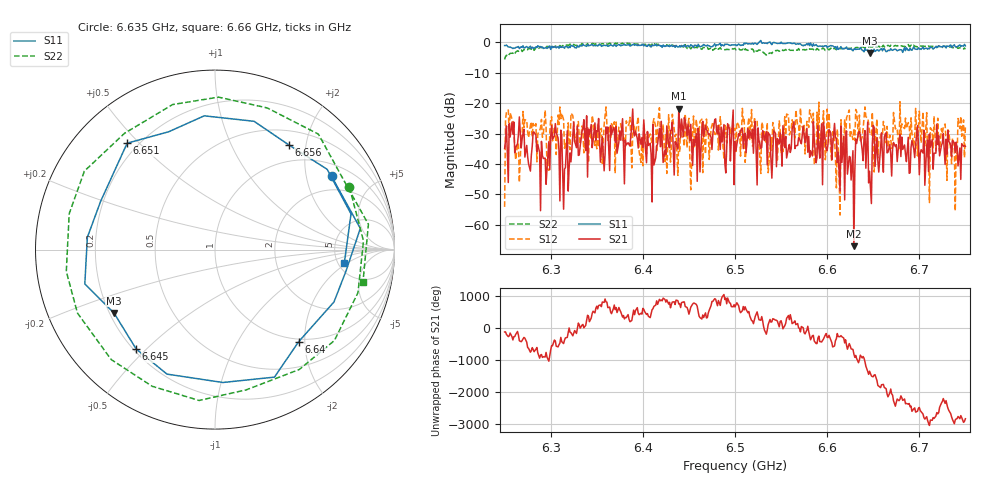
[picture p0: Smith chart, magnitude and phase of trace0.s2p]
# Hz S RI R 50
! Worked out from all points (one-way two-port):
!   401 points, 6.25 GHz to 6.75 GHz, reference 50 ohm
!   highest |S21| = -21.85 dB at 6.439 GHz (marker M1); lowest = -67.0 dB at 6.629 GHz (marker M2)
!   lowest |S11| = -3.6 dB at 6.646 GHz (marker M3), VSWR 4.96, Z = 10.9 - j13.8 ohm
!   |S11| at or under -10 dB: nowhere
!   |S22| runs from -5.7 to -0.1 dB; largest |S21 - S12| = 0.11
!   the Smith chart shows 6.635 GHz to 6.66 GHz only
!   S11 on the Smith chart (normalised r, x): 6.635 GHz: 1.42, +2.82; 6.64 GHz: 0.95, -1.87; 6.645 GHz: 0.21, -0.47; 6.651 GHz: 0.16, +0.46; 6.656 GHz: 0.72, +1.70; 6.66 GHz: 5.65, -1.82
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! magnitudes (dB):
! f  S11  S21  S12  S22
! 6.25 GHz  -1.1  -34.9  -54.1  -5.7
! 6.254 GHz  -1.6  -46.1  -22.3  -4.6
! 6.264 GHz  -1.6  -33.4  -33.4  -2.8
! 6.294 GHz  -1.8  -38.1  -22.3  -1.7
! 6.304 GHz  -1.5  -30.8  -27.7  -1.7
! 6.316 GHz  -1.3  -41.2  -32.8  -1.1
! 6.334 GHz  -1.2  -29.3  -27.5  -0.4
! 6.418 GHz  -1.0  -28.3  -21.5  -0.5
! 6.439 GHz  -1.5  -21.9  -31.5  -1.2
! 6.5 GHz  -0.9  -32.7  -28.2  -2.0
! 6.584 GHz  -1.4  -37.4  -26.5  -2.2
! 6.611 GHz  -1.4  -39.5  -28.5  -2.1
! 6.629 GHz  -2.3  -67.0  -28.3  -2.2
! 6.635 GHz  -2.3  -29.3  -23.9  -1.7
! 6.64 GHz  -3.2  -31.5  -24.9  -1.8
! 6.645 GHz  -3.0  -46.2  -26.6  -1.5
! 6.646 GHz  -3.6  -42.4  -29.7  -1.5
! 6.651 GHz  -2.3  -28.0  -42.6  -1.7
! 6.656 GHz  -2.9  -42.7  -32.6  -1.3
! 6.66 GHz  -2.8  -37.1  -30.6  -1.5
! 6.668 GHz  -2.7  -33.6  -30.5  -1.4
! 6.75 GHz  -1.2  -34.2  -27.7  -2.3
